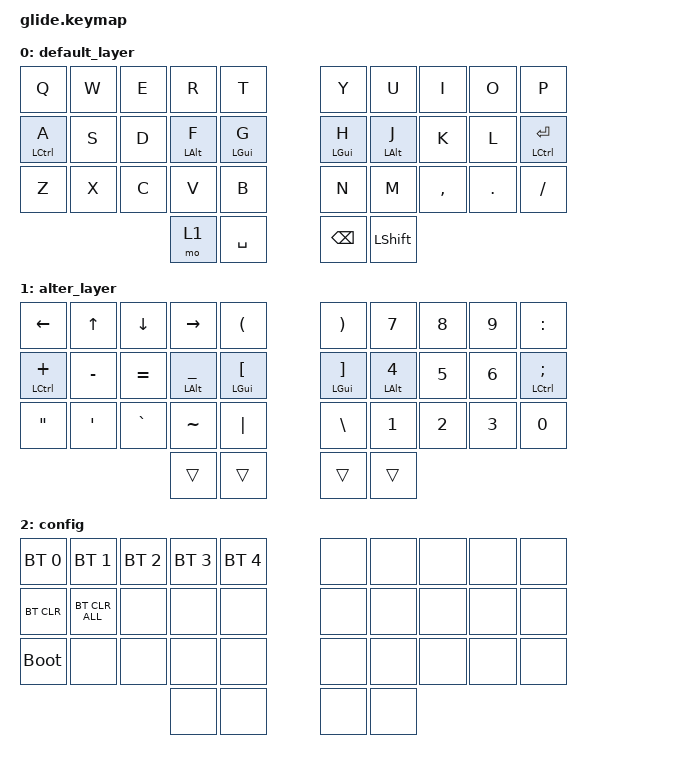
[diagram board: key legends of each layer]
/*
* Copyright (c) 2021 The ZMK Contributors
*
* SPDX-License-Identifier: MIT
*/

#include <behaviors.dtsi>
#include <dt-bindings/zmk/bt.h>
#include <dt-bindings/zmk/keys.h>

/ {
    behaviors {
        MY_MT: MY_MT {
            compatible = "zmk,behavior-hold-tap";
            label = "MY_MT";
            bindings = <&kp>, <&kp>;

            #binding-cells = <2>;
            tapping-term-ms = <200>;
            flavor = "tap-preferred";
        };

        tapDanceBootloader: tapDanceBootloader {
            compatible = "zmk,behavior-tap-dance";
            label = "TAPDANCEBOOTLOADER";
            #binding-cells = <0>;
            bindings = <&none>, <&bootloader>;
        };
    };

    combos {
        compatible = "zmk,combos";

        tab {
            bindings = <&kp TAB>;
            key-positions = <11 12>;
        };

        f1 {
            bindings = <&kp F1>;
            key-positions = <0 10>;
        };

        f2 {
            bindings = <&kp F2>;
            key-positions = <1 11>;
        };

        f3 {
            bindings = <&kp F3>;
            key-positions = <2 12>;
        };

        f4 {
            bindings = <&kp F4>;
            key-positions = <3 13>;
        };

        f5 {
            bindings = <&kp F5>;
            key-positions = <4 14>;
        };

        f6 {
            bindings = <&kp F6>;
            key-positions = <5 15>;
        };

        f7 {
            bindings = <&kp F7>;
            key-positions = <6 16>;
        };

        f8 {
            bindings = <&kp F8>;
            key-positions = <7 17>;
        };

        f9 {
            bindings = <&kp F9>;
            key-positions = <8 18>;
        };

        f10 {
            bindings = <&kp F10>;
            key-positions = <9 19>;
        };

        f11 {
            bindings = <&kp F11>;
            key-positions = <18 28>;
        };

        f12 {
            bindings = <&kp F12>;
            key-positions = <19 29>;
        };

        del {
            bindings = <&kp DEL>;
            key-positions = <32 25>;
        };

        MO_CONFIG_LAYER {
            bindings = <&mo 2>;
            key-positions = <30 31 32 33>;
        };

        home {
            bindings = <&kp HOME>;
            key-positions = <20 10>;
        };

        end {
            bindings = <&kp END>;
            key-positions = <21 11>;
        };

        pgup {
            bindings = <&kp PG_UP>;
            key-positions = <22 12>;
        };

        pgdn {
            bindings = <&kp PG_DN>;
            key-positions = <23 13>;
        };

        capslock {
            bindings = <&kp CAPS>;
            key-positions = <33 26>;
        };

        ctrl {
            bindings = <&kp LCTRL>;
            key-positions = <10 19>;
        };

        alt {
            bindings = <&kp LEFT_ALT>;
            key-positions = <13 16>;
        };

        gui {
            bindings = <&kp LEFT_GUI>;
            key-positions = <14 15>;
        };

        toggleAlterLayer {
            bindings = <&tog 1>;
            key-positions = <30 23>;
        };

        volumeDown {
            bindings = <&kp C_VOLUME_DOWN>;
            key-positions = <27 26>;
        };

        volumeUp {
            bindings = <&kp C_VOLUME_UP>;
            key-positions = <28 29>;
        };

        muteVolume {
            bindings = <&kp C_MUTE>;
            key-positions = <28 27>;
        };

        comboEsc {
            bindings = <&kp ESCAPE>;
            key-positions = <2 0 1>;
        };

        bootloader {
            bindings = <&tapDanceBootloader>;
            key-positions = <9 19 29>;
            layers = <2>;
        };
    };

    keymap {
        compatible = "zmk,keymap";

        default_layer {
            bindings = <
&kp Q                  &kp W  &kp E  &kp R              &kp T              &kp Y              &kp U              &kp I      &kp O    &kp P
&MY_MT LEFT_CONTROL A  &kp S  &kp D  &MY_MT LEFT_ALT F  &MY_MT LEFT_GUI G  &MY_MT LEFT_GUI H  &MY_MT LEFT_ALT J  &kp K      &kp L    &MY_MT LEFT_CONTROL ENTER
&kp Z                  &kp X  &kp C  &kp V              &kp B              &kp N              &kp M              &kp COMMA  &kp DOT  &kp SLASH
                                     &mo 1              &kp SPACE          &kp BACKSPACE      &kp LEFT_SHIFT
            >;
        };

        alter_layer {
            bindings = <
&kp LEFT           &kp UP     &kp DOWN   &kp RIGHT              &kp LPAR              &kp RPAR              &kp N7              &kp N8  &kp N9  &kp COLON
&MY_MT LCTRL PLUS  &kp MINUS  &kp EQUAL  &MY_MT LEFT_ALT UNDER  &MY_MT LEFT_GUI LBKT  &MY_MT LEFT_GUI RBKT  &MY_MT LEFT_ALT N4  &kp N5  &kp N6  &MY_MT LCTRL SEMI
&kp DQT            &kp SQT    &kp GRAVE  &kp TILDE              &kp PIPE              &kp BACKSLASH         &kp N1              &kp N2  &kp N3  &kp N0
                                         &trans                 &trans                &trans                &trans
            >;
        };

        config {
            bindings = <
&bt BT_SEL 0  &bt BT_SEL 1    &bt BT_SEL 2  &bt BT_SEL 3  &bt BT_SEL 4  &none  &none  &none  &none  &none
&bt BT_CLR    &bt BT_CLR_ALL  &none         &none         &none         &none  &none  &none  &none  &none
&bootloader   &none           &none         &none         &none         &none  &none  &none  &none  &none
                                            &none         &none         &none  &none
            >;
        };
    };
};
